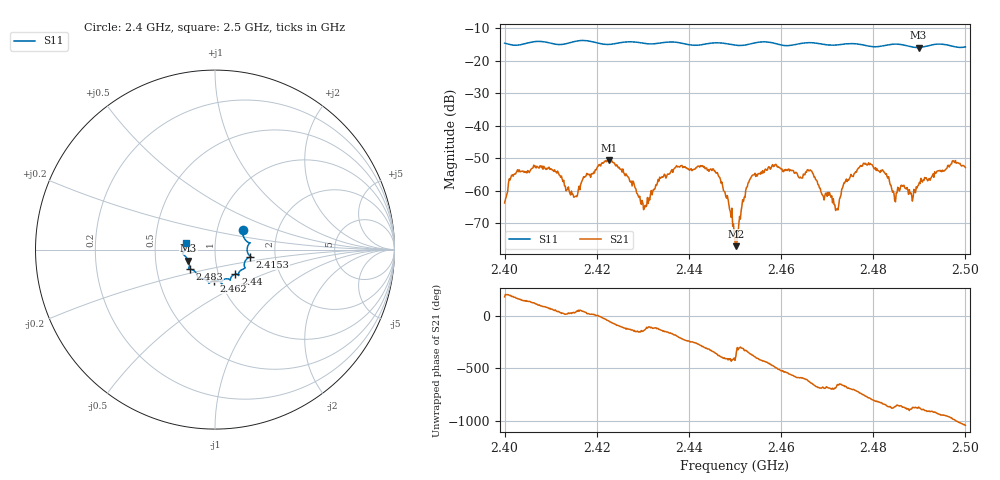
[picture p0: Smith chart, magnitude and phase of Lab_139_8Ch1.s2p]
# Hz S RI R
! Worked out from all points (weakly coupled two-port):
!   601 points, 2.4 GHz to 2.5 GHz, reference 50 ohm
!   highest |S21| = -50.64 dB at 2.4227 GHz (marker M1); lowest = -77.1 dB at 2.4502 GHz (marker M2)
!   lowest |S11| = -15.9 dB at 2.4898 GHz (marker M3), VSWR 1.38, Z = 36.8 - j4.61 ohm
!   |S11| at or under -10 dB: start of sweep to end of sweep
!   S12 and S22 are empty: the file has one direction only
!   S11 on the Smith chart (normalised r, x): 2.4 GHz: 1.33, +0.29; 2.4153 GHz: 1.48, -0.12; 2.44 GHz: 1.20, -0.34; 2.462 GHz: 0.93, -0.33; 2.483 GHz: 0.74, -0.17; 2.5 GHz: 0.72, +0.06
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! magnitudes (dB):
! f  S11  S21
! 2.4 GHz  -14.5  -63.8
! 2.4015 GHz  -15.1  -55.3
! 2.4067 GHz  -14.0  -52.4
! 2.4153 GHz  -14.0  -61.7
! 2.4167 GHz  -13.7  -57.4
! 2.4227 GHz  -14.9  -50.6
! 2.4302 GHz  -14.5  -65.8
! 2.4333 GHz  -14.6  -56.5
! 2.44 GHz  -15.0  -53.5
! 2.4462 GHz  -14.4  -54.4
! 2.45 GHz  -15.1  -75.5
! 2.4502 GHz  -15.2  -77.1
! 2.4537 GHz  -14.6  -55.4
! 2.462 GHz  -15.2  -53.5
! 2.4667 GHz  -14.4  -54.0
! 2.472 GHz  -15.1  -65.8
! 2.4775 GHz  -15.0  -52.5
! 2.483 GHz  -15.1  -55.6
! 2.4833 GHz  -15.0  -55.7
! 2.4847 GHz  -14.8  -63.1
! 2.4898 GHz  -15.9  -58.3
! 2.5 GHz  -15.7  -52.8
